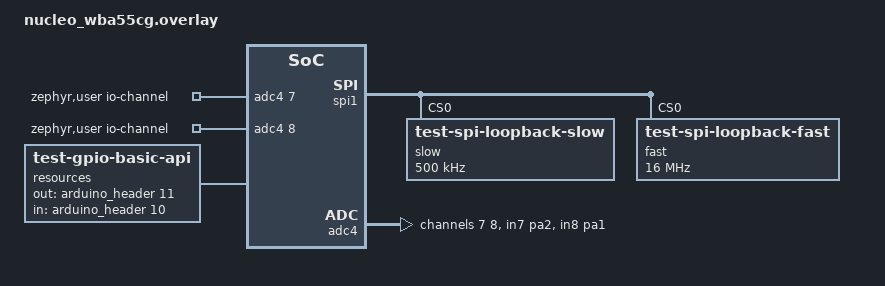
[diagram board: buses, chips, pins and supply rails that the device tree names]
/*
 * Copyright (c) 2025 STMicroelectronics
 *
 * SPDX-License-Identifier: Apache-2.0
 */

&rcc {
	apb2-prescaler = <2>;
};

&spi1 {
	dmas = <&gpdma1 0 2 STM32_DMA_PERIPH_TX>,
	       <&gpdma1 1 1 STM32_DMA_PERIPH_RX>;
	dma-names = "tx", "rx";
	fifo-enable;

	slow@0 {
		compatible = "test-spi-loopback-slow";
		reg = <0>;
		spi-max-frequency = <500000>;
	};

	fast@0 {
		compatible = "test-spi-loopback-fast";
		reg = <0>;
		spi-max-frequency = <16000000>;
	};
};

&gpdma1 {
	status = "okay";
};

/ {
	zephyr,user {
		io-channels = <&adc4 7>, <&adc4 8>;
	};
};

&adc4 {
	pinctrl-0 = <&adc4_in7_pa2 &adc4_in8_pa1>;
	#address-cells = <1>;
	#size-cells = <0>;
	channel@7 {
		reg = <7>;
		zephyr,gain = "ADC_GAIN_1";
		zephyr,reference = "ADC_REF_INTERNAL";
		zephyr,acquisition-time = <ADC_ACQ_TIME_MAX>;
		zephyr,resolution = <12>;
	};
	channel@8 {
		reg = <8>;
		zephyr,gain = "ADC_GAIN_1";
		zephyr,reference = "ADC_REF_INTERNAL";
		zephyr,acquisition-time = <ADC_ACQ_TIME_MAX>;
		zephyr,resolution = <12>;
	};
};

/ {
	resources {
		compatible = "test-gpio-basic-api";
		status = "okay";
		out-gpios = <&arduino_header 11 (GPIO_ACTIVE_HIGH | GPIO_PUSH_PULL | GPIO_PULL_UP)>;
		in-gpios = <&arduino_header 10 (GPIO_ACTIVE_HIGH | GPIO_PUSH_PULL | GPIO_PULL_UP)>;
	};
};

&rcc {
	clocks = <&clk_hsi>;
	clock-frequency = <DT_FREQ_M(32)>;
};

dut: &lpuart1 {
	dmas = <&gpdma1 0 16 STM32_DMA_PERIPH_TX>,
	       <&gpdma1 1 15 STM32_DMA_PERIPH_RX>;
	dma-names = "tx", "rx";
	fifo-enable;
};
